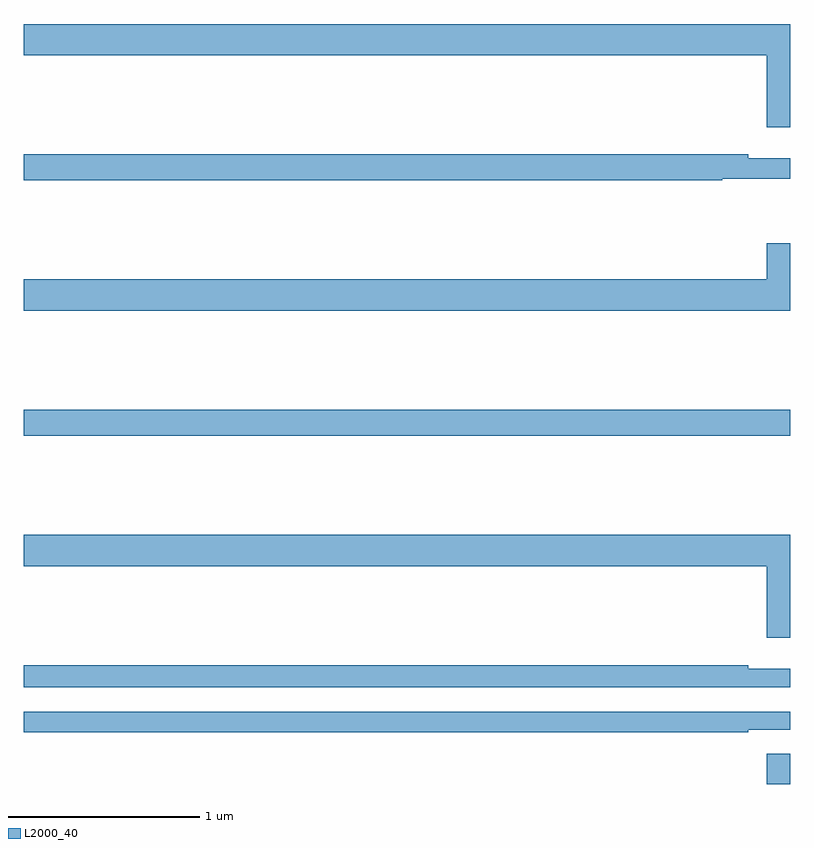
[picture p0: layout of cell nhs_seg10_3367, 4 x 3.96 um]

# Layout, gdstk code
import gdstk
lib = gdstk.Library(unit=1e-6, precision=1e-09)
def R(c, l, rs):  # rectangles x0, y0, x1, y1
    for r in rs: c.add(gdstk.rectangle(r[:2], r[2:], *l))
def P(c, l, *ps):  # polygons
    for p in ps: c.add(gdstk.Polygon(p, *l))
L2000_40 = (2000, 40)

nhs_seg10_3367 = lib.new_cell('nhs_seg10_3367')
R(nhs_seg10_3367, L2000_40, [(296.876,1312.5,297,1312.657), (293,1314.316,297,1314.452)])
P(nhs_seg10_3367, L2000_40, [(297,1316.464),(293,1316.464),(293,1316.3),(296.876,1316.3),(296.876,1315.926),(297,1315.926)],
  [(296.645,1315.656),(297,1315.656),(297,1315.765),(296.78,1315.765),(296.78,1315.784),(293,1315.784),(293,1315.648),(296.645,1315.648)],
  [(297,1315.321),(296.876,1315.321),(296.876,1315.132),(293,1315.132),(293,1314.968),(297,1314.968)],
  [(297,1313.8),(293,1313.8),(293,1313.636),(296.876,1313.636),(296.876,1313.262),(297,1313.262)],
  [(297,1313.101),(296.78,1313.101),(296.78,1313.12),(293,1313.12),(293,1313.004),(297,1313.004)],
  [(296.78,1312.782),(297,1312.782),(297,1312.878),(293,1312.878),(293,1312.77),(296.78,1312.77)])

lib.write_gds('nhs_seg10_3367.gds')
